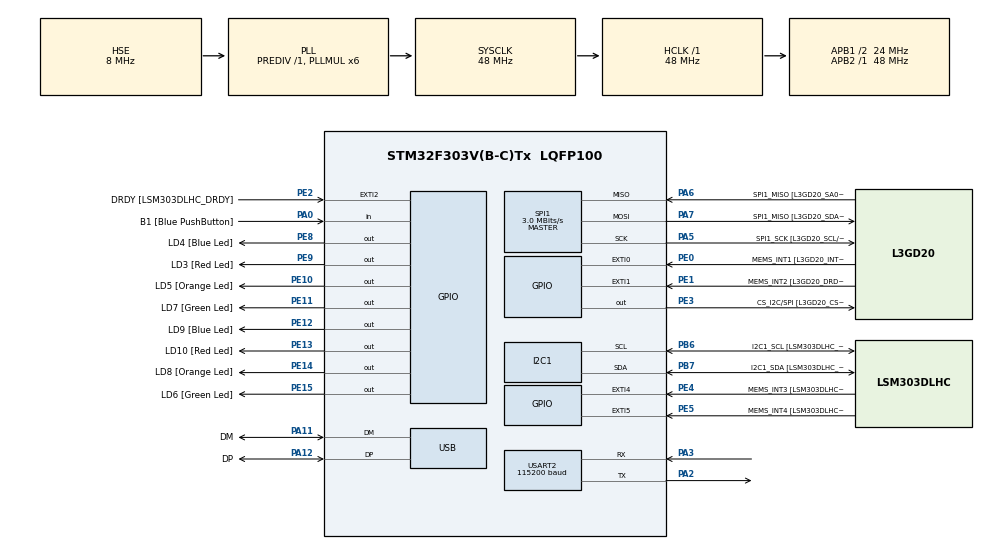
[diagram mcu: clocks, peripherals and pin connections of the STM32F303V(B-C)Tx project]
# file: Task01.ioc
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I2C1.Timing=0x00201D2B
I2C1.Timing-I2C=0x2000090E
Mcu.Family=STM32F3
Mcu.Name=STM32F303V(B-C)Tx
Mcu.Package=LQFP100
NVIC.PriorityGroup=NVIC_PRIORITYGROUP_0
NVIC.SPI1_IRQn=true\:0\:0\:false\:false\:true\:true\:true\:true
PA0.GPIO_Label=B1 [Blue PushButton]
PA0.Signal=GPIO_Input
PA11.GPIO_Label=DM
PA11.Mode=Device
PA11.Signal=USB_DM
PA12.GPIO_Label=DP
PA12.Mode=Device
PA12.Signal=USB_DP
PA13.GPIO_Label=SWDIO
PA13.Mode=Serial_Wire
PA13.Signal=SYS_JTMS-SWDIO
PA14.GPIO_Label=SWCLK
PA14.Mode=Serial_Wire
PA14.Signal=SYS_JTCK-SWCLK
PA2.Mode=Asynchronous
PA2.Signal=USART2_TX
PA3.Mode=Asynchronous
PA3.Signal=USART2_RX
PA5.GPIO_Label=SPI1_SCK [L3GD20_SCL/SPC]
PA5.Mode=Full_Duplex_Master
PA5.Signal=SPI1_SCK
PA6.GPIO_Label=SPI1_MISO [L3GD20_SA0/SDO]
PA6.Mode=Full_Duplex_Master
PA6.Signal=SPI1_MISO
PA7.GPIO_Label=SPI1_MISO [L3GD20_SDA/SDI/SDO]
PA7.Mode=Full_Duplex_Master
PA7.Signal=SPI1_MOSI
PB3.GPIO_Label=SWO
PB3.Signal=SYS_JTDO-TRACESWO
PB6.GPIO_Label=I2C1_SCL [LSM303DLHC_SCL]
PB6.GPIO_Pu=GPIO_PULLUP
PB6.Mode=I2C
PB6.Signal=I2C1_SCL
PB7.GPIO_Label=I2C1_SDA [LSM303DLHC_SDA]
PB7.GPIO_Pu=GPIO_PULLUP
PB7.Mode=I2C
PB7.Signal=I2C1_SDA
PC14-OSC32_IN.GPIO_Label=OSC32_IN
PC14-OSC32_IN.Signal=RCC_OSC32_IN
PC15-OSC32_OUT.GPIO_Label=OSC32_OUT
PC15-OSC32_OUT.Signal=RCC_OSC32_OUT
PE0.GPIO_Label=MEMS_INT1 [L3GD20_INT1]
PE0.GPIO_ModeDefaultEXTI=GPIO_MODE_EVT_RISING
PE0.Signal=GPXTI0
PE1.GPIO_Label=MEMS_INT2 [L3GD20_DRDY/INT2]
PE1.GPIO_ModeDefaultEXTI=GPIO_MODE_EVT_RISING
PE1.Signal=GPXTI1
PE10.GPIO_Label=LD5 [Orange Led]
PE10.Signal=GPIO_Output
PE11.GPIO_Label=LD7 [Green Led]
PE11.Signal=GPIO_Output
PE12.GPIO_Label=LD9 [Blue Led]
PE12.Signal=GPIO_Output
PE13.GPIO_Label=LD10 [Red Led]
PE13.Signal=GPIO_Output
PE14.GPIO_Label=LD8 [Orange Led]
PE14.Signal=GPIO_Output
PE15.GPIO_Label=LD6 [Green Led]
PE15.Signal=GPIO_Output
PE2.GPIO_Label=DRDY [LSM303DLHC_DRDY]
PE2.GPIO_ModeDefaultEXTI=GPIO_MODE_EVT_RISING
PE2.Signal=GPXTI2
PE3.GPIO_Label=CS_I2C/SPI [L3GD20_CS_I2C/SPI]
PE3.Signal=GPIO_Output
PE4.GPIO_Label=MEMS_INT3 [LSM303DLHC_INT1]
PE4.GPIO_ModeDefaultEXTI=GPIO_MODE_EVT_RISING
PE4.Signal=GPXTI4
PE5.GPIO_Label=MEMS_INT4 [LSM303DLHC_INT2]
PE5.GPIO_ModeDefaultEXTI=GPIO_MODE_EVT_RISING
PE5.Signal=GPXTI5
PE8.GPIO_Label=LD4 [Blue Led]
PE8.Signal=GPIO_Output
PE9.GPIO_Label=LD3 [Red Led]
PE9.Signal=GPIO_Output
PF0-OSC_IN.GPIO_Label=OSC_IN
PF0-OSC_IN.Mode=HSE-External-Clock-Source
PF0-OSC_IN.Signal=RCC_OSC_IN
PF1-OSC_OUT.GPIO_Label=OSC_OUT
PF1-OSC_OUT.Signal=RCC_OSC_OUT
ProjectManager.HeapSize=0x200
ProjectManager.StackSize=0x400
ProjectManager.TargetToolchain=CMake
RCC.AHBFreq_Value=48000000
RCC.APB1CLKDivider=RCC_HCLK_DIV2
RCC.APB1Freq_Value=24000000
RCC.APB1TimFreq_Value=48000000
RCC.APB2Freq_Value=48000000
RCC.APB2TimFreq_Value=48000000
RCC.CortexFreq_Value=48000000
RCC.HCLKFreq_Value=48000000
RCC.HSE_VALUE=8000000
RCC.HSI_VALUE=8000000
RCC.LSE_VALUE=32768
RCC.PLLMUL=RCC_PLL_MUL6
RCC.SYSCLKFreq_VALUE=48000000
RCC.SYSCLKSourceVirtual=RCC_SYSCLKSOURCE_PLLCLK
RCC.USBFreq_Value=48000000
SPI1.BaudRatePrescaler=SPI_BAUDRATEPRESCALER_16
SPI1.BaudRatePrescaler-Full_Duplex_Master=SPI_BAUDRATEPRESCALER_2
SPI1.CLKPhase=SPI_PHASE_2EDGE
SPI1.CLKPolarity=SPI_POLARITY_HIGH
SPI1.CalculateBaudRate=3.0 MBits/s
SPI1.CalculateBaudRate-Full_Duplex_Master=24.0 MBits/s
SPI1.DataSize=SPI_DATASIZE_8BIT
SPI1.Direction=SPI_DIRECTION_2LINES
SPI1.Mode=SPI_MODE_MASTER
SPI1.Mode-Full_Duplex_Master=SPI_MODE_MASTER
SPI1.VirtualType=VM_MASTER
USART2.BaudRate=115200
USART2.VirtualMode-Asynchronous=VM_ASYNC
board=STM32F3DISCOVERY

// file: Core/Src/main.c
/* USER CODE BEGIN Header */
/**
  ******************************************************************************
  * @file           : main.c
  * @brief          : Main program body
  ******************************************************************************
  * @attention
  *
  * Copyright (c) 2026 STMicroelectronics.
  * All rights reserved.
  *
  * This software is licensed under terms that can be found in the LICENSE file
  * in the root directory of this software component.
  * If no LICENSE file comes with this software, it is provided AS-IS.
  *
  ******************************************************************************
  */
/* USER CODE END Header */
#include "main.h"
#include "string.h"
#include "stdio.h"
#include "math.h"

I2C_HandleTypeDef hi2c1;

SPI_HandleTypeDef hspi1;

UART_HandleTypeDef huart2;

PCD_HandleTypeDef hpcd_USB_FS;

void SystemClock_Config(void);
static void MX_GPIO_Init(void);
static void MX_I2C1_Init(void);
static void MX_SPI1_Init(void);
static void MX_USART2_UART_Init(void);
static void MX_USB_PCD_Init(void);

/* USER CODE BEGIN 0 */
#define DevAddress 0x19 << 1
#define OUT_X_L  0x28
# define CTRL_REG1 0x20
# define CTRL_REG1_VAL 0b10001111

// Variables to store raw and processed sensor data
float acceleration_x, acceleration_tilt_x, acceleration_y, acceleration_tilt_y, acceleration_z, acceleration_tilt_z;
int16_t gyro_x, gyro_y, gyro_z;
float acc_offset_x = 0, acc_offset_y = 0, acc_offset_z = 0;
int16_t gyro_offset_x = 0, gyro_offset_y = 0, gyro_offset_z = 0;
float angle_x = 0, angle_y = 0, angle_z = 0;

// Gyro initialization function
void gyro_init ()
{
  uint8_t tx [2] = {CTRL_REG1 , CTRL_REG1_VAL};
  HAL_GPIO_WritePin (GPIOE , GPIO_PIN_3 , GPIO_PIN_RESET);
  HAL_SPI_Transmit (& hspi1 , tx , 2, HAL_MAX_DELAY);
  HAL_GPIO_WritePin (GPIOE , GPIO_PIN_3 , GPIO_PIN_SET);
}

// Reading gyro data for all axis
void gyro_read_all(int16_t *x, int16_t *y, int16_t *z)
{
    uint8_t tx = OUT_X_L | 0x80 | 0x40;  // read bit + auto-increment bit
    uint8_t rx[6] = {0};

    HAL_GPIO_WritePin(GPIOE, GPIO_PIN_3, GPIO_PIN_RESET);  // CS LOW once
    HAL_SPI_Transmit(&hspi1, &tx, 1, HAL_MAX_DELAY);       // send start register
    HAL_SPI_Receive(&hspi1, rx, 6, HAL_MAX_DELAY);         // read all 6 bytes
    HAL_GPIO_WritePin(GPIOE, GPIO_PIN_3, GPIO_PIN_SET);    // CS HIGH once

    *x = (int16_t)((rx[1] << 8) | rx[0]);  // XH | XL
    *y = (int16_t)((rx[3] << 8) | rx[2]);  // YH | YL
    *z = (int16_t)((rx[5] << 8) | rx[4]);  // ZH | ZL
}

// Reading accelerometer data for all axis
#define CTRL_REG1_A 0x20
#define CTRL_REG4_A 0x23
void Init_LSM()
{
  uint8_t write_reg_1 = 0x67;
  uint8_t write_reg_4 = 0x00;
  HAL_I2C_Mem_Write(&hi2c1, DevAddress, CTRL_REG1_A, I2C_MEMADD_SIZE_8BIT, &write_reg_1, sizeof(write_reg_1), 100);
  HAL_I2C_Mem_Write(&hi2c1, DevAddress, CTRL_REG4_A, I2C_MEMADD_SIZE_8BIT, &write_reg_4, sizeof(write_reg_4), 100);
}

void Read_LSM()
{
  uint8_t low;
  uint8_t high;

  // Read raw X-axis acceleration data
  HAL_I2C_Mem_Read(&hi2c1, DevAddress, 0x28, I2C_MEMADD_SIZE_8BIT, &low, sizeof(low), 100);
  HAL_I2C_Mem_Read(&hi2c1, DevAddress, 0x29, I2C_MEMADD_SIZE_8BIT, &high, sizeof(high), 100);
  int16_t raw_x = (high << 8) | low;

  // Read raw Y-axis acceleration data
  HAL_I2C_Mem_Read(&hi2c1, DevAddress, 0x2A | 0x80, I2C_MEMADD_SIZE_8BIT, &low, 1, HAL_MAX_DELAY);
  HAL_I2C_Mem_Read(&hi2c1, DevAddress, 0x2B | 0x80, I2C_MEMADD_SIZE_8BIT, &high, 1, HAL_MAX_DELAY);
  int16_t raw_y = (int16_t)((high << 8) | low);

  // Read raw Z-axis acceleration data
  HAL_I2C_Mem_Read(&hi2c1, DevAddress, 0x2C | 0x80, I2C_MEMADD_SIZE_8BIT, &low, 1, HAL_MAX_DELAY);
  HAL_I2C_Mem_Read(&hi2c1, DevAddress, 0x2D | 0x80, I2C_MEMADD_SIZE_8BIT, &high, 1, HAL_MAX_DELAY);
  int16_t raw_z = (int16_t)((high << 8) | low);

  // Convert raw data to acceleration in g's and tilt in degrees
  acceleration_x = (raw_x * 3.9) / 1000;
  acceleration_x -= acc_offset_x;
  acceleration_tilt_x = acceleration_x * 57.2958;

  acceleration_y = (raw_y * 3.9) / 1000;
  acceleration_y -= acc_offset_y;
  acceleration_tilt_y = acceleration_y * 57.2958;

  acceleration_z = (raw_z * 3.9) / 1000;
  acceleration_z -= acc_offset_z;
  acceleration_tilt_z = acceleration_z * 57.2958;

}
void Print_LSM()
{
  char buffer[128];
  float gyro_x_dps = gyro_x * 0.00875f;
  float gyro_y_dps = gyro_y * 0.00875f;
  float gyro_z_dps = gyro_z * 0.00875f;
  sprintf(buffer, "%.2f,%.2f,%.2f,%.2f,%.2f,%.2f\r\n", gyro_x_dps, acceleration_x, gyro_y_dps, acceleration_y, gyro_z_dps, acceleration_z);
  HAL_UART_Transmit(&huart2, (uint8_t*)buffer, strlen(buffer), HAL_MAX_DELAY);
}
void offset_LSM()
{
  for (int i = 0; i < 20; i++)
  {
    Read_LSM();
    gyro_read_all(&gyro_x, &gyro_y, &gyro_z);
    acc_offset_x += acceleration_x;
    gyro_offset_x += gyro_x;
    acc_offset_y += acceleration_y;
    gyro_offset_y += gyro_y;
    acc_offset_z += acceleration_z;
    gyro_offset_z += gyro_z;
    HAL_Delay(10);
  }
  gyro_offset_x /= 20;
  acc_offset_x /= 20;
  gyro_offset_y /= 20;
  acc_offset_y /= 20;
  gyro_offset_z /= 20;
  acc_offset_z /= 20;
}

void angle_calculation(){
  // Complementary filter parameters
  float alpha = 0.98; // Filter coefficient
  float dt = 0.3; // Time step (300 ms)
  // Gyro_dps
  float gyro_x_dps = gyro_x * 0.00875f;
  float gyro_y_dps = gyro_y * 0.00875f;
  float gyro_z_dps = gyro_z * 0.00875f;
  // Calculate angles from complementary filter
  angle_x = alpha * (0 + (gyro_x_dps) * dt) + (1 - alpha) * (-acceleration_tilt_x);
  angle_y = alpha * (0 + gyro_y_dps * dt) + (1 - alpha) * acceleration_tilt_y;
  angle_z = alpha * (0 + gyro_z_dps * dt) + (1 - alpha) * acceleration_tilt_z;
}
void print_angle(){
  char buffer[128];
  sprintf(buffer, "%.2f,%.2f,%.2f\r\n", angle_x, angle_y, angle_z);
  HAL_UART_Transmit(&huart2, (uint8_t*)buffer, strlen(buffer), HAL_MAX_DELAY);
}
/* USER CODE END 0 */

int main(void)
{

  /* MCU Configuration--------------------------------------------------------*/

  /* Reset of all peripherals, Initializes the Flash interface and the Systick. */  HAL_Init();

  /* Configure the system clock */
  SystemClock_Config();

  /* Initialize all configured peripherals */
  MX_GPIO_Init();
  MX_I2C1_Init();
  MX_SPI1_Init();
  MX_USART2_UART_Init();
  MX_USB_PCD_Init();
  /* USER CODE BEGIN 2 */
  Init_LSM();
  HAL_Delay(100);
  gyro_init();
  HAL_Delay(100);
  offset_LSM();
  /* USER CODE END 2 */

  /* Infinite loop */
  while (1)
  {
    Read_LSM();
    HAL_Delay(100);
    gyro_read_all(&gyro_x, &gyro_y, &gyro_z);
    HAL_Delay(100);
    angle_calculation();
    HAL_Delay(100);
    print_angle();
    // Print_LSM();
  }
}

void SystemClock_Config(void)
{
  RCC_OscInitTypeDef RCC_OscInitStruct = {0};
  RCC_ClkInitTypeDef RCC_ClkInitStruct = {0};
  RCC_PeriphCLKInitTypeDef PeriphClkInit = {0};

  /** Initializes the RCC Oscillators according to the specified parameters
  * in the RCC_OscInitTypeDef structure.
  */
  RCC_OscInitStruct.OscillatorType = RCC_OSCILLATORTYPE_HSI|RCC_OSCILLATORTYPE_HSE;
  RCC_OscInitStruct.HSEState = RCC_HSE_BYPASS;
  RCC_OscInitStruct.HSEPredivValue = RCC_HSE_PREDIV_DIV1;
  RCC_OscInitStruct.HSIState = RCC_HSI_ON;
  RCC_OscInitStruct.HSICalibrationValue = RCC_HSICALIBRATION_DEFAULT;
  RCC_OscInitStruct.PLL.PLLState = RCC_PLL_ON;
  RCC_OscInitStruct.PLL.PLLSource = RCC_PLLSOURCE_HSE;
  RCC_OscInitStruct.PLL.PLLMUL = RCC_PLL_MUL6;
  if (HAL_RCC_OscConfig(&RCC_OscInitStruct) != HAL_OK)
  {
    Error_Handler();
  }

  /** Initializes the CPU, AHB and APB buses clocks
  */
  RCC_ClkInitStruct.ClockType = RCC_CLOCKTYPE_HCLK|RCC_CLOCKTYPE_SYSCLK
                              |RCC_CLOCKTYPE_PCLK1|RCC_CLOCKTYPE_PCLK2;
  RCC_ClkInitStruct.SYSCLKSource = RCC_SYSCLKSOURCE_PLLCLK;
  RCC_ClkInitStruct.AHBCLKDivider = RCC_SYSCLK_DIV1;
  RCC_ClkInitStruct.APB1CLKDivider = RCC_HCLK_DIV2;
  RCC_ClkInitStruct.APB2CLKDivider = RCC_HCLK_DIV1;

  if (HAL_RCC_ClockConfig(&RCC_ClkInitStruct, FLASH_LATENCY_1) != HAL_OK)
  {
    Error_Handler();
  }
  PeriphClkInit.PeriphClockSelection = RCC_PERIPHCLK_USB|RCC_PERIPHCLK_USART2
                              |RCC_PERIPHCLK_I2C1;
  PeriphClkInit.Usart2ClockSelection = RCC_USART2CLKSOURCE_PCLK1;
  PeriphClkInit.I2c1ClockSelection = RCC_I2C1CLKSOURCE_HSI;
  PeriphClkInit.USBClockSelection = RCC_USBCLKSOURCE_PLL;
  if (HAL_RCCEx_PeriphCLKConfig(&PeriphClkInit) != HAL_OK)
  {
    Error_Handler();
  }
}

static void MX_I2C1_Init(void)
{

  hi2c1.Instance = I2C1;
  hi2c1.Init.Timing = 0x00201D2B;
  hi2c1.Init.OwnAddress1 = 0;
  hi2c1.Init.AddressingMode = I2C_ADDRESSINGMODE_7BIT;
  hi2c1.Init.DualAddressMode = I2C_DUALADDRESS_DISABLE;
  hi2c1.Init.OwnAddress2 = 0;
  hi2c1.Init.OwnAddress2Masks = I2C_OA2_NOMASK;
  hi2c1.Init.GeneralCallMode = I2C_GENERALCALL_DISABLE;
  hi2c1.Init.NoStretchMode = I2C_NOSTRETCH_DISABLE;
  if (HAL_I2C_Init(&hi2c1) != HAL_OK)
  {
    Error_Handler();
  }

  /** Configure Analogue filter
  */
  if (HAL_I2CEx_ConfigAnalogFilter(&hi2c1, I2C_ANALOGFILTER_ENABLE) != HAL_OK)
  {
    Error_Handler();
  }

  /** Configure Digital filter
  */
  if (HAL_I2CEx_ConfigDigitalFilter(&hi2c1, 0) != HAL_OK)
  {
    Error_Handler();
  }

}

static void MX_SPI1_Init(void)
{

  /* SPI1 parameter configuration*/
  hspi1.Instance = SPI1;
  hspi1.Init.Mode = SPI_MODE_MASTER;
  hspi1.Init.Direction = SPI_DIRECTION_2LINES;
  hspi1.Init.DataSize = SPI_DATASIZE_8BIT;
  hspi1.Init.CLKPolarity = SPI_POLARITY_HIGH;
  hspi1.Init.CLKPhase = SPI_PHASE_2EDGE;
  hspi1.Init.NSS = SPI_NSS_SOFT;
  hspi1.Init.BaudRatePrescaler = SPI_BAUDRATEPRESCALER_16;
  hspi1.Init.FirstBit = SPI_FIRSTBIT_MSB;
  hspi1.Init.TIMode = SPI_TIMODE_DISABLE;
  hspi1.Init.CRCCalculation = SPI_CRCCALCULATION_DISABLE;
  hspi1.Init.CRCPolynomial = 7;
  hspi1.Init.CRCLength = SPI_CRC_LENGTH_DATASIZE;
  hspi1.Init.NSSPMode = SPI_NSS_PULSE_DISABLE;
  if (HAL_SPI_Init(&hspi1) != HAL_OK)
  {
    Error_Handler();
  }

}

static void MX_USART2_UART_Init(void)
{

  huart2.Instance = USART2;
  huart2.Init.BaudRate = 115200;
  huart2.Init.WordLength = UART_WORDLENGTH_8B;
  huart2.Init.StopBits = UART_STOPBITS_1;
  huart2.Init.Parity = UART_PARITY_NONE;
  huart2.Init.Mode = UART_MODE_TX_RX;
  huart2.Init.HwFlowCtl = UART_HWCONTROL_NONE;
  huart2.Init.OverSampling = UART_OVERSAMPLING_16;
  huart2.Init.OneBitSampling = UART_ONE_BIT_SAMPLE_DISABLE;
  huart2.AdvancedInit.AdvFeatureInit = UART_ADVFEATURE_NO_INIT;
  if (HAL_UART_Init(&huart2) != HAL_OK)
  {
    Error_Handler();
  }

}

static void MX_USB_PCD_Init(void)
{

  hpcd_USB_FS.Instance = USB;
  hpcd_USB_FS.Init.dev_endpoints = 8;
  hpcd_USB_FS.Init.speed = PCD_SPEED_FULL;
  hpcd_USB_FS.Init.phy_itface = PCD_PHY_EMBEDDED;
  hpcd_USB_FS.Init.low_power_enable = DISABLE;
  hpcd_USB_FS.Init.battery_charging_enable = DISABLE;
  if (HAL_PCD_Init(&hpcd_USB_FS) != HAL_OK)
  {
    Error_Handler();
  }

}

static void MX_GPIO_Init(void)
{
  GPIO_InitTypeDef GPIO_InitStruct = {0};

  /* GPIO Ports Clock Enable */
  __HAL_RCC_GPIOE_CLK_ENABLE();
  __HAL_RCC_GPIOC_CLK_ENABLE();
  __HAL_RCC_GPIOF_CLK_ENABLE();
  __HAL_RCC_GPIOA_CLK_ENABLE();
  __HAL_RCC_GPIOB_CLK_ENABLE();

  /*Configure GPIO pin Output Level */
  HAL_GPIO_WritePin(GPIOE, CS_I2C_SPI_Pin|LD4_Pin|LD3_Pin|LD5_Pin
                          |LD7_Pin|LD9_Pin|LD10_Pin|LD8_Pin
                          |LD6_Pin, GPIO_PIN_RESET);

  /*Configure GPIO pins : DRDY_Pin MEMS_INT3_Pin MEMS_INT4_Pin MEMS_INT1_Pin
                           MEMS_INT2_Pin */
  GPIO_InitStruct.Pin = DRDY_Pin|MEMS_INT3_Pin|MEMS_INT4_Pin|MEMS_INT1_Pin
                          |MEMS_INT2_Pin;
  GPIO_InitStruct.Mode = GPIO_MODE_EVT_RISING;
  GPIO_InitStruct.Pull = GPIO_NOPULL;
  HAL_GPIO_Init(GPIOE, &GPIO_InitStruct);

  /*Configure GPIO pins : CS_I2C_SPI_Pin LD4_Pin LD3_Pin LD5_Pin
                           LD7_Pin LD9_Pin LD10_Pin LD8_Pin
                           LD6_Pin */
  GPIO_InitStruct.Pin = CS_I2C_SPI_Pin|LD4_Pin|LD3_Pin|LD5_Pin
                          |LD7_Pin|LD9_Pin|LD10_Pin|LD8_Pin
                          |LD6_Pin;
  GPIO_InitStruct.Mode = GPIO_MODE_OUTPUT_PP;
  GPIO_InitStruct.Pull = GPIO_NOPULL;
  GPIO_InitStruct.Speed = GPIO_SPEED_FREQ_LOW;
  HAL_GPIO_Init(GPIOE, &GPIO_InitStruct);

  /*Configure GPIO pin : B1_Pin */
  GPIO_InitStruct.Pin = B1_Pin;
  GPIO_InitStruct.Mode = GPIO_MODE_INPUT;
  GPIO_InitStruct.Pull = GPIO_NOPULL;
  HAL_GPIO_Init(B1_GPIO_Port, &GPIO_InitStruct);

}

void Error_Handler(void)
{
  __disable_irq();
  while (1)
  {
  }
}
